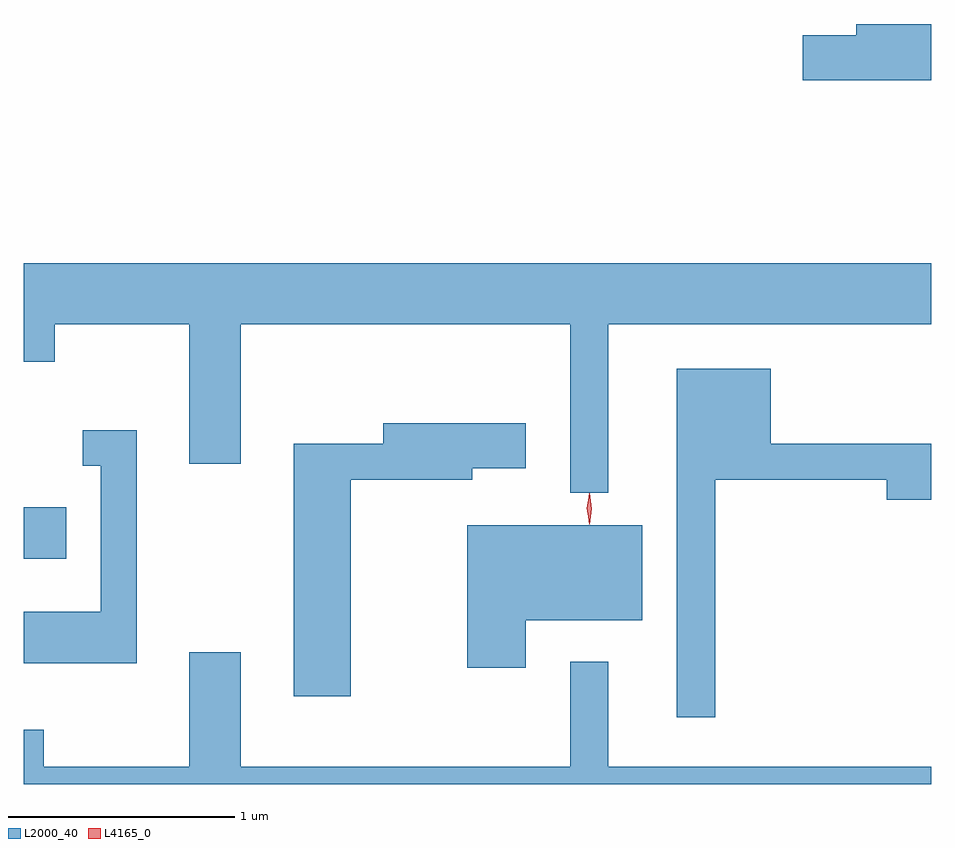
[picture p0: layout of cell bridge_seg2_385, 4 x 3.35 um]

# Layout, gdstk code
import gdstk
lib = gdstk.Library(unit=1e-6, precision=1e-09)
def R(c, l, rs):  # rectangles x0, y0, x1, y1
    for r in rs: c.add(gdstk.rectangle(r[:2], r[2:], *l))
def P(c, l, *ps):  # polygons
    for p in ps: c.add(gdstk.Polygon(p, *l))
L2000_40 = (2000, 40)
L4165_0 = (4165, 0)

bridge_seg2_385 = lib.new_cell('bridge_seg2_385')
R(bridge_seg2_385, L2000_40, [(637.332,998.441,637.519,998.669)])
P(bridge_seg2_385, L2000_40, [(641.332,1000.799),(641.001,1000.799),(641.001,1000.749),(640.766,1000.749),(640.766,1000.551),(641.332,1000.551)],
  [(639.909,999.476),(641.332,999.476),(641.332,999.744),(637.332,999.744),(637.332,999.311),(637.469,999.311),(637.469,999.476),(638.061,999.476),(638.061,998.861),(638.289,998.861),(638.289,999.476),(639.741,999.476),(639.741,998.733),(639.909,998.733)],
  [(640.379,998.791),(641.136,998.791),(641.136,998.701),(641.332,998.701),(641.332,998.949),(640.624,998.949),(640.624,999.279),(640.211,999.279),(640.211,997.743),(640.379,997.743)],
  [(638.774,998.791),(639.309,998.791),(639.309,998.841),(639.544,998.841),(639.544,999.039),(638.916,999.039),(638.916,998.949),(638.521,998.949),(638.521,997.836),(638.774,997.836)],
  [(637.829,999.009),(637.593,999.009),(637.593,998.851),(637.671,998.851),(637.671,998.209),(637.332,998.209),(637.332,997.981),(637.829,997.981)],
  [(639.544,998.171),(640.059,998.171),(640.059,998.589),(639.286,998.589),(639.286,997.961),(639.544,997.961)],
  [(641.332,997.524),(639.909,997.524),(639.909,997.988),(639.741,997.988),(639.741,997.524),(638.289,997.524),(638.289,998.029),(638.061,998.029),(638.061,997.524),(637.419,997.524),(637.419,997.689),(637.332,997.689),(637.332,997.449),(641.332,997.449)])
P(bridge_seg2_385, L4165_0, [(639.825,998.594),(639.816,998.662),(639.824,998.73),(639.825,998.73),(639.826,998.73),(639.835,998.662),(639.826,998.594),(639.826,998.594)],
  [(639.824,998.601),(639.824,998.602),(639.814,998.664),(639.824,998.726),(639.824,998.727),(639.825,998.726),(639.834,998.664),(639.825,998.602)])

lib.write_gds('bridge_seg2_385.gds')
